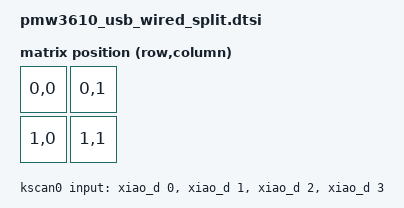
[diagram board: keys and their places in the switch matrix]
/*
 * Shared devicetree for the pmw3610_usb_wired_split shield -- a minimal two-part
 * WIRED split for `west zmk-renode-test --host-link usb --split-link wired`.
 *
 * Topology (see the repo README's "Hardware-free USB+wired relay test"):
 *
 *   host --USB(Studio)--> CENTRAL(left) --wired(split relay)--> PERIPHERAL(right, sim PMW3610)
 *
 * Both halves (pmw3610_usb_wired_split_left = central, pmw3610_usb_wired_split_right
 * = peripheral) include this. Patterned on zmk-west-commands' renode_wired_split
 * (wired split link on uart1, console on uart0) crossed with the Studio-ready
 * physical-layout shape of renode_tester (a zmk,physical-layout with
 * key_physical_attrs and NO chosen zmk,matrix-transform -- CONFIG_ZMK_STUDIO on
 * the central build-asserts on exactly that shape; the transform is referenced
 * from the physical layout instead).
 *
 * The real PMW3610 sensor lives ONLY on the peripheral half
 * (pmw3610_usb_wired_split_right.overlay); the central has no local pointing
 * device, only the split RPC relay bridge + Studio over USB.
 *
 * Renode gotchas (identical to the renode-studio-uart snippet / renode_wired_split):
 * the stock xiao_ble enables &qspi/&p25q16h (external NOR) whose readiness
 * events Renode does not model, so that driver busy-waits forever -- disable it.
 * Disable the board's console-over-USB CDC (board_cdc_acm_uart) so the console
 * stays on uart0; the central keeps &usbd ENABLED for the Studio CDC (its
 * _left.overlay does nothing extra), the peripheral disables &usbd in its own
 * overlay (it needs no USB).
 */
#include <dt-bindings/zmk/matrix_transform.h>
#include <physical_layouts.dtsi>

&qspi {
	status = "disabled";
};

&p25q16h {
	status = "disabled";
};

&board_cdc_acm_uart {
	status = "disabled";
};

&pinctrl {
	uart1_default: uart1_default {
		group1 {
			psels = <NRF_PSEL(UART_TX, 0, 2)>;
		};
		group2 {
			psels = <NRF_PSEL(UART_RX, 0, 3)>;
			bias-pull-up;
		};
	};

	uart1_sleep: uart1_sleep {
		group1 {
			psels = <NRF_PSEL(UART_TX, 0, 2)>,
					<NRF_PSEL(UART_RX, 0, 3)>;
			low-power-enable;
		};
	};
};

&uart0 {
	status = "okay";
};

&uart1 {
	compatible = "nordic,nrf-uarte";
	status = "okay";
	current-speed = <115200>;
	pinctrl-0 = <&uart1_default>;
	pinctrl-1 = <&uart1_sleep>;
	pinctrl-names = "default", "sleep";
};

/ {
	chosen {
		zephyr,console = &uart0;
		zephyr,shell-uart = &uart0;
		zmk,kscan = &kscan0;
		/* NO zmk,matrix-transform chosen -- CONFIG_ZMK_STUDIO (central)
		 * build-asserts against it; the transform is referenced from the
		 * physical layout instead. */
	};

	kscan0: kscan {
		compatible = "zmk,kscan-gpio-direct";
		input-gpios
			= <&xiao_d 0 (GPIO_ACTIVE_LOW | GPIO_PULL_UP)>
			, <&xiao_d 1 (GPIO_ACTIVE_LOW | GPIO_PULL_UP)>
			, <&xiao_d 2 (GPIO_ACTIVE_LOW | GPIO_PULL_UP)>
			, <&xiao_d 3 (GPIO_ACTIVE_LOW | GPIO_PULL_UP)>
			;
	};

	transform0: keymap_transform {
		compatible = "zmk,matrix-transform";
		columns = <2>;
		rows = <2>;
		map = <
		RC(0,0)  RC(0,1)
		RC(1,0)  RC(1,1)
		>;
	};

	physical_layout0: physical_layout0 {
		compatible = "zmk,physical-layout";
		display-name = "PMW3610";
		transform = <&transform0>;
		keys  /* w   h    x    y   rot  rx  ry */
			= <&key_physical_attrs 100 100   0   0 0 0 0>
			, <&key_physical_attrs 100 100 100   0 0 0 0>
			, <&key_physical_attrs 100 100   0 100 0 0 0>
			, <&key_physical_attrs 100 100 100 100 0 0 0>
			;
	};

	wired_split: wired_split {
		compatible = "zmk,wired-split";
		device = <&uart1>;
	};
};
